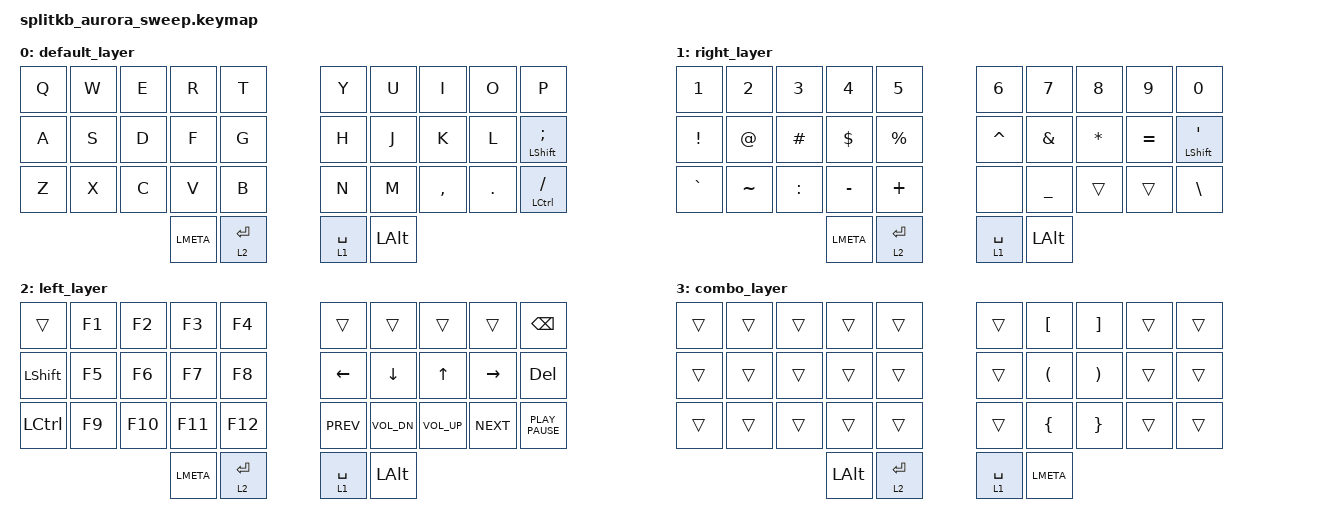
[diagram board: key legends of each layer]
#include <behaviors.dtsi>
#include <dt-bindings/zmk/keys.h>
#include <dt-bindings/zmk/bt.h>

&mt {
  flavor = "tap-preferred";
  tapping-term-ms = <180>;
};
&lt {
  flavor = "tap-preferred";
  tapping-term-ms = <180>;
};
/ {
    macros {
      vim_w: macro_vim_w {
        compatible = "zmk,behavior-macro";
        #binding-cells = <0>;
        wait-ms = <1>;
        tap-ms = <1>;
        bindings = <&kp COLON &kp W>;
      };
      vim_wq: macro_vim_wq {
        compatible = "zmk,behavior-macro";
        #binding-cells = <0>;
        wait-ms = <1>;
        tap-ms = <1>;
        bindings = <&kp COLON &kp W &kp Q>;
      };
      vim_q: macro_vim_q {
        compatible = "zmk,behavior-macro";
        #binding-cells = <0>;
        wait-ms = <1>;
        tap-ms = <1>;
        bindings = <&kp COLON &kp Q &kp EXCL>;
      };
    };
    combos {
        compatible = "zmk,combos";
        combo_esc {
            timeout-ms = <50>;
            key-positions = <10 11>;
            bindings = <&kp ESC>;
        };
        combo_tab {
            timeout-ms = <50>;
            key-positions = <12 13>;
            bindings = <&kp TAB>;
        };
        combo_shift_tab {
            timeout-ms = <50>;
            key-positions = <16 17>;
            bindings = <&kp LS(TAB)>;
        };
        combo_vim_write {
            timeout-ms = <50>;
            key-positions = <1 19>;
            bindings = <&vim_w>;
        };

        combo_vim_quit {
            timeout-ms = <50>;
            key-positions = <0 19>;
            bindings = <&vim_q>;
        };

        combo_vim_write_quit {
            timeout-ms = <50>;
            key-positions = <0 1 19>;
            bindings = <&vim_wq>;
        };
  };
        conditional_layers {
          compatible = "zmk,conditional-layers";
          tri_layer {
            if-layers = <1 2>;
            then-layer = <3>;
          };
  };
        keymap {
          compatible = "zmk,keymap";

        default_layer {
          bindings = <
            &kp Q        &kp W &kp E &kp R &kp T       &kp Y &kp U  &kp I     &kp O   &kp P
          &kp A &kp S &kp D &kp F &kp G       &kp H &kp J  &kp K     &kp L   &mt LSHIFT SEMI
            &kp Z  &kp X &kp C &kp V &kp B       &kp N &kp M  &kp COMMA &kp DOT &mt LCTRL SLASH
                                 &kp LMETA &lt 2 RET   &lt 1 SPACE  &kp LALT
          >;
        };
        right_layer {
          bindings = <
            &kp N1    &kp N2 &kp N3   &kp N4    &kp N5       &kp N6      &kp N7   &kp N8   &kp N9    &kp N0
            &kp EXCL  &kp AT &kp HASH &kp DLLR  &kp PRCNT    &kp CARET   &kp AMPS &kp STAR &kp EQUAL &mt LSHIFT SQT
            &kp GRAVE &kp TILDE  &kp COLON    &kp MINUS     &kp PLUS    &none   &kp UNDER    &trans    &trans     &kp BSLH
                                      &kp LMETA &lt 2 RET    &lt 1 SPACE &kp LALT
            >;
        };
        left_layer {
          bindings = <
            &trans    &kp F1  &kp F2  &kp F3  &kp F4               &trans  &trans  &trans  &trans        &kp BSPC
            &kp LSHIFT    &kp F5  &kp F6   &kp F7   &kp F8              &kp LEFT    &kp DOWN     &kp UP       &kp RIGHT  &kp DEL
            &kp LCTRL     &kp F9  &kp F10   &kp F11   &kp F12             &kp K_PREV  &kp K_VOL_DN &kp K_VOL_UP &kp K_NEXT &kp K_PLAY_PAUSE
                                   &kp LMETA &lt 2 RET              &lt 1 SPACE &kp LALT
          >;
        };
        combo_layer {
          bindings = <
            &trans  &trans &trans &trans &trans          &trans      &kp LBKT   &kp RBKT   &trans &trans
            &trans  &trans &trans &trans &trans          &trans      &kp LPAR   &kp RPAR   &trans &trans
            &trans  &trans &trans &trans &trans          &trans      &kp LBRC   &kp RBRC   &trans &trans
                                &kp LALT &lt 2 RET       &lt 1 SPACE &kp LMETA
          >;
        };
    };
};
